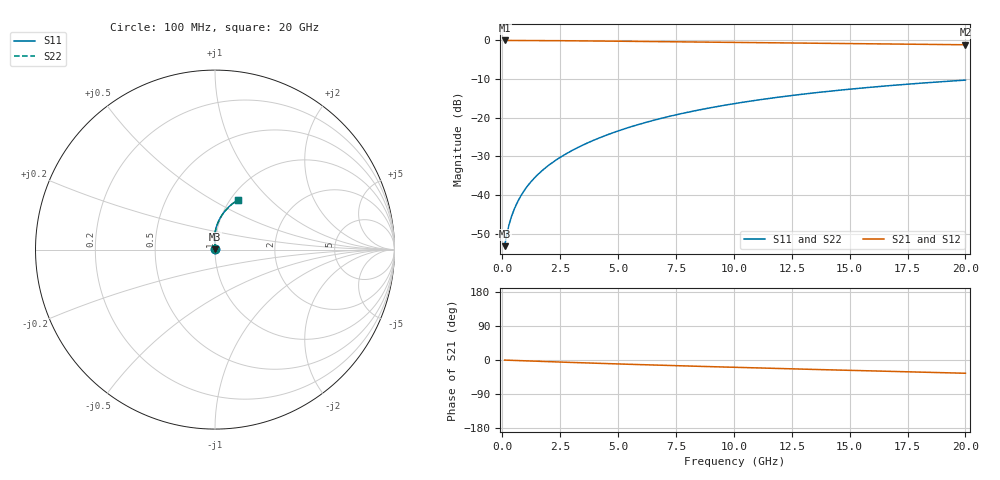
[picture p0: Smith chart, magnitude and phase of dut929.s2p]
! Touchstone file exported from HFSS 2024.1.0
!  File:  C:/UserFiles/LocalFiles/RDL_TSV_Batchsim/temp_RDL_top_929_1779936972.aedt
!  Generated:  10:58:56 AM May 28, 2026
!  Design:  RDL_top
!  Project:  temp_RDL_top_929_1779936972
!  Setup:  Setup1
!  Solution:  Sweep
! Variables:
!  dtsv = 10.80580581um
!  hbump = 3um
!  htsv = 59.44um
!  ldown = 100um
!  lrdl = 494.95um
!  p = 40
!  p1 = 57.79um
!  rhole = 1um
!  t = 450um
!  tdown = 3.915915916um
!  trdl = 4.11um
!  wdown = 15.38538539um
!  wrdl = 28.98um
# GHz S MA R 50.000000
! Terminal data exported
! Port[1] = Box2_T1
! Port[2] = Box2_T2
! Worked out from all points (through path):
!   200 points, 100 MHz to 20 GHz, reference 50 ohm
!   highest |S21| = -0.01 dB at 100 MHz (marker M1); lowest = -1.1 dB at 20 GHz (marker M2)
!   group delay of S21, straight-line fit = 4.77 ps
!   lowest |S11| = -53.3 dB at 100 MHz (marker M3), VSWR 1.00, Z = 50.2 + j0.135 ohm
!   |S11| at or under -10 dB: start of sweep to end of sweep
!   |S22| runs from -53.3 to -10.3 dB; largest |S21 - S12| = 2e-15
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0.1  0.00217 38.4  0.9983 -0.2  0.9983 -0.2  0.00217 38.4
! Gamma 0 0 0 0
! Port Impedance 50 0 50 0
0.2  0.003164 54.8  0.9981 -0.5  0.9981 -0.5  0.003164 54.8
0.3  0.004209 63.0  0.9979 -0.7  0.9979 -0.7  0.004209 63.0
0.4  0.005269 68.3  0.9978 -0.9  0.9978 -0.9  0.005269 68.3
0.5  0.006348 72.1  0.9976 -1.1  0.9976 -1.1  0.006348 72.1
0.6  0.007446 74.9  0.9975 -1.3  0.9975 -1.3  0.007446 74.9
0.8  0.009691 79.0  0.9971 -1.8  0.9971 -1.8  0.009691 78.9
1.1  0.01316 82.7  0.9965 -2.4  0.9965 -2.4  0.01316 82.7
1.5  0.01793 85.8  0.9953 -3.3  0.9953 -3.3  0.01793 85.8
2.1  0.0254 88.6  0.9931 -4.6  0.9931 -4.6  0.0254 88.6
2.7  0.03329 90.2  0.9902 -5.8  0.9902 -5.8  0.03328 90.2
3.5  0.04446 91.3  0.9858 -7.5  0.9858 -7.5  0.04445 91.3
4.2  0.05482 91.6  0.9814 -8.9  0.9814 -8.9  0.0548 91.6
5  0.06725 91.4  0.9761 -10.4  0.9761 -10.4  0.06722 91.3
5.9  0.08183 90.6  0.9699 -12.1  0.9699 -12.1  0.08179 90.5
6.8  0.09686 89.4  0.9636 -13.7  0.9636 -13.7  0.09681 89.4
8.4  0.1242 86.8  0.9526 -16.5  0.9526 -16.5  0.1241 86.7
10.1  0.1533 83.6  0.9412 -19.4  0.9412 -19.4  0.1532 83.5
11.7  0.1803 80.5  0.9308 -22.0  0.9308 -22.0  0.1801 80.4
13.4  0.2082 77.1  0.9199 -24.8  0.9199 -24.8  0.208 77.1
16.7  0.2594 70.9  0.8989 -30.0  0.8989 -30.0  0.2592 70.9
20  0.3061 65.1  0.878 -35.0  0.878 -35.0  0.3058 65.0
